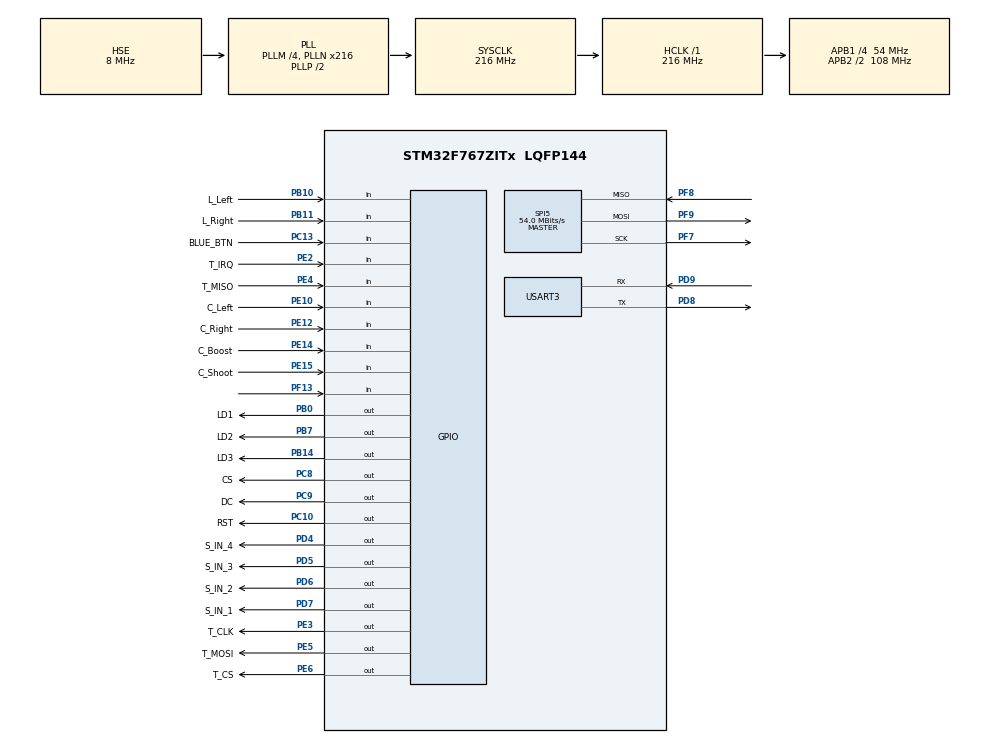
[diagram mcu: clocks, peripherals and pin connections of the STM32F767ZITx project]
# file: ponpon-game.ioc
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CORTEX_M7.ART_ACCELERATOR_ENABLE=1
CORTEX_M7.CPU_DCache=Enabled
CORTEX_M7.CPU_ICache=Enabled
CORTEX_M7.MPU_Control=__NULL
CORTEX_M7.PREFETCH_ENABLE=1
CORTEX_M7.default_mode_Activation=1
FREERTOS.Tasks01=defaultTask,24,256,StartDefaultTask,Default,NULL,Dynamic,NULL,NULL;TouchDisplayTas,8,256,DisplayTouch,Default,NULL,Dynamic,NULL,NULL;DisplayMenuTask,8,256,DisplayLCD,Default,NULL,Dynamic,NULL,NULL;ScoreCounterTas,48,256,ScoreCount,Default,NULL,Dynamic,NULL,NULL
FREERTOS.configENABLE_FPU=1
FREERTOS.configUSE_NEWLIB_REENTRANT=1
Mcu.Family=STM32F7
Mcu.Name=STM32F767ZITx
Mcu.Package=LQFP144
NVIC.PriorityGroup=NVIC_PRIORITYGROUP_4
NVIC.TIM2_IRQn=true\:5\:0\:false\:false\:true\:true\:true\:true\:true
NVIC.TIM8_UP_TIM13_IRQn=true\:15\:0\:false\:false\:true\:false\:false\:true\:true
NVIC.TimeBase=TIM8_UP_TIM13_IRQn
NVIC.TimeBaseIP=TIM8
PB0.GPIO_Label=LD1
PB0.Signal=GPIO_Output
PB10.GPIO_Label=L_Left
PB10.GPIO_PuPd=GPIO_PULLUP
PB10.Signal=GPIO_Input
PB11.GPIO_Label=L_Right
PB11.GPIO_PuPd=GPIO_PULLUP
PB11.Signal=GPIO_Input
PB14.GPIO_Label=LD3
PB14.Signal=GPIO_Output
PB7.GPIO_Label=LD2
PB7.Signal=GPIO_Output
PC10.GPIO_Label=RST
PC10.GPIO_Speed=GPIO_SPEED_FREQ_VERY_HIGH
PC10.Signal=GPIO_Output
PC13.GPIO_Label=BLUE_BTN
PC13.Signal=GPIO_Input
PC8.GPIO_Label=CS
PC8.GPIO_Speed=GPIO_SPEED_FREQ_VERY_HIGH
PC8.Signal=GPIO_Output
PC9.GPIO_Label=DC
PC9.GPIO_Speed=GPIO_SPEED_FREQ_VERY_HIGH
PC9.Signal=GPIO_Output
PD4.GPIO_Label=S_IN_4
PD4.Signal=GPIO_Output
PD5.GPIO_Label=S_IN_3
PD5.Signal=GPIO_Output
PD6.GPIO_Label=S_IN_2
PD6.Signal=GPIO_Output
PD7.GPIO_Label=S_IN_1
PD7.Signal=GPIO_Output
PD8.Mode=Asynchronous
PD8.Signal=USART3_TX
PD9.Mode=Asynchronous
PD9.Signal=USART3_RX
PE10.GPIO_Label=C_Left
PE10.Signal=GPIO_Input
PE12.GPIO_Label=C_Right
PE12.Signal=GPIO_Input
PE14.GPIO_Label=C_Boost
PE14.Signal=GPIO_Input
PE15.GPIO_Label=C_Shoot
PE15.Signal=GPIO_Input
PE2.GPIO_Label=T_IRQ
PE2.Signal=GPIO_Input
PE3.GPIO_Label=T_CLK
PE3.GPIO_Speed=GPIO_SPEED_FREQ_VERY_HIGH
PE3.Signal=GPIO_Output
PE4.GPIO_Label=T_MISO
PE4.Signal=GPIO_Input
PE5.GPIO_Label=T_MOSI
PE5.GPIO_Speed=GPIO_SPEED_FREQ_VERY_HIGH
PE5.Signal=GPIO_Output
PE6.GPIO_Label=T_CS
PE6.GPIO_Speed=GPIO_SPEED_FREQ_VERY_HIGH
PE6.Signal=GPIO_Output
PF13.Signal=GPIO_Input
PF7.Mode=Full_Duplex_Master
PF7.Signal=SPI5_SCK
PF8.Mode=Full_Duplex_Master
PF8.Signal=SPI5_MISO
PF9.Mode=Full_Duplex_Master
PF9.Signal=SPI5_MOSI
PH0/OSC_IN.Mode=HSE-External-Oscillator
PH0/OSC_IN.Signal=RCC_OSC_IN
PH1/OSC_OUT.Mode=HSE-External-Oscillator
PH1/OSC_OUT.Signal=RCC_OSC_OUT
ProjectManager.HeapSize=0x200
ProjectManager.StackSize=0x400
ProjectManager.TargetToolchain=STM32CubeIDE
RCC.AHBFreq_Value=216000000
RCC.APB1CLKDivider=RCC_HCLK_DIV4
RCC.APB1Freq_Value=54000000
RCC.APB1TimFreq_Value=108000000
RCC.APB2CLKDivider=RCC_HCLK_DIV2
RCC.APB2Freq_Value=108000000
RCC.APB2TimFreq_Value=216000000
RCC.CortexFreq_Value=216000000
RCC.HCLKFreq_Value=216000000
RCC.HSE_VALUE=8000000
RCC.HSI_VALUE=16000000
RCC.LSE_VALUE=32768
RCC.PLLM=4
RCC.PLLN=216
RCC.PLLSourceVirtual=RCC_PLLSOURCE_HSE
RCC.SYSCLKFreq_VALUE=216000000
RCC.SYSCLKSource=RCC_SYSCLKSOURCE_PLLCLK
RCC.USBFreq_Value=216000000
RCC.VCOOutputFreq_Value=432000000
SPI5.CalculateBaudRate=54.0 MBits/s
SPI5.DataSize=SPI_DATASIZE_8BIT
SPI5.Direction=SPI_DIRECTION_2LINES
SPI5.Mode=SPI_MODE_MASTER
SPI5.NSSPMode=SPI_NSS_PULSE_DISABLE
SPI5.VirtualType=VM_MASTER
TIM1.ClockDivision=TIM_CLOCKDIVISION_DIV2
TIM1.Period=0
TIM1.Prescaler=10000
TIM2.Period=10000-1
TIM2.Prescaler=10800-1
TIM2.TIM_MasterOutputTrigger=TIM_TRGO_UPDATE
USART3.VirtualMode-Asynchronous=VM_ASYNC
VP_FREERTOS_VS_CMSIS_V2.Mode=CMSIS_V2
VP_SYS_VS_tim8.Mode=TIM8
VP_TIM1_VS_ClockSourceINT.Mode=Internal
VP_TIM2_VS_ClockSourceINT.Mode=Internal
VP_TIM3_VS_ClockSourceINT.Mode=Internal
board=custom

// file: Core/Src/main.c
/* USER CODE BEGIN Header */
/**
  ******************************************************************************
  * @file           : main.c
  * @brief          : Main program body
  ******************************************************************************
  * @attention
  *
  * Copyright (c) 2026 STMicroelectronics.
  * All rights reserved.
  *
  * This software is licensed under terms that can be found in the LICENSE file
  * in the root directory of this software component.
  * If no LICENSE file comes with this software, it is provided AS-IS.
  *
  ******************************************************************************
  */
/* USER CODE END Header */
#include "main.h"
#include "cmsis_os.h"
#include "spi.h"
#include "tim.h"
#include "usart.h"
#include "gpio.h"

/* USER CODE BEGIN Includes */
#include "string.h"
#include "ILI9341_STM32_Driver.h"
/* USER CODE END Includes */

/* USER CODE BEGIN PV */
uint16_t timerCounter = 0;
/* USER CODE END PV */

void SystemClock_Config(void);
void MX_FREERTOS_Init(void);

int main(void)
{

  /* Enable the CPU Cache */

  /* Enable I-Cache---------------------------------------------------------*/
  SCB_EnableICache();

  /* Enable D-Cache---------------------------------------------------------*/
  SCB_EnableDCache();

  /* MCU Configuration--------------------------------------------------------*/

  /* Reset of all peripherals, Initializes the Flash interface and the Systick. */
  HAL_Init();

  /* Configure the system clock */
  SystemClock_Config();

  /* Initialize all configured peripherals */
  MX_GPIO_Init();
  MX_SPI5_Init();
  MX_TIM1_Init();
  MX_TIM2_Init();
  MX_USART3_UART_Init();
  MX_TIM3_Init();
  /* USER CODE BEGIN 2 */
  char init_msg[] = "Kernel Boosting...";
  HAL_UART_Transmit(&huart3, (uint8_t*) init_msg, strlen(init_msg), 100);

  ILI9341_Init();
  ILI9341_Set_Rotation(SCREEN_HORIZONTAL_2);
  ILI9341_Fill_Screen(WHITE);

  HAL_TIM_Base_Start_IT(&htim2);
  /* USER CODE END 2 */

  /* Init scheduler */
  osKernelInitialize();  /* Call init function for freertos objects (in cmsis_os2.c) */
  MX_FREERTOS_Init();

  /* Start scheduler */
  osKernelStart();

  /* We should never get here as control is now taken by the scheduler */

  /* Infinite loop */
  while (1)
  {

    /* USER CODE BEGIN 3 */
	char error_msg[] = "Exception Kernel Error!";
	HAL_UART_Transmit(&huart3, (uint8_t*) error_msg, strlen(error_msg), 100);
  }
  /* USER CODE END 3 */
}

void SystemClock_Config(void)
{
  RCC_OscInitTypeDef RCC_OscInitStruct = {0};
  RCC_ClkInitTypeDef RCC_ClkInitStruct = {0};

  /** Configure the main internal regulator output voltage
  */
  __HAL_RCC_PWR_CLK_ENABLE();
  __HAL_PWR_VOLTAGESCALING_CONFIG(PWR_REGULATOR_VOLTAGE_SCALE1);

  /** Initializes the RCC Oscillators according to the specified parameters
  * in the RCC_OscInitTypeDef structure.
  */
  RCC_OscInitStruct.OscillatorType = RCC_OSCILLATORTYPE_HSE;
  RCC_OscInitStruct.HSEState = RCC_HSE_ON;
  RCC_OscInitStruct.PLL.PLLState = RCC_PLL_ON;
  RCC_OscInitStruct.PLL.PLLSource = RCC_PLLSOURCE_HSE;
  RCC_OscInitStruct.PLL.PLLM = 4;
  RCC_OscInitStruct.PLL.PLLN = 216;
  RCC_OscInitStruct.PLL.PLLP = RCC_PLLP_DIV2;
  RCC_OscInitStruct.PLL.PLLQ = 2;
  RCC_OscInitStruct.PLL.PLLR = 2;
  if (HAL_RCC_OscConfig(&RCC_OscInitStruct) != HAL_OK)
  {
    Error_Handler();
  }

  /** Activate the Over-Drive mode
  */
  if (HAL_PWREx_EnableOverDrive() != HAL_OK)
  {
    Error_Handler();
  }

  /** Initializes the CPU, AHB and APB buses clocks
  */
  RCC_ClkInitStruct.ClockType = RCC_CLOCKTYPE_HCLK|RCC_CLOCKTYPE_SYSCLK
                              |RCC_CLOCKTYPE_PCLK1|RCC_CLOCKTYPE_PCLK2;
  RCC_ClkInitStruct.SYSCLKSource = RCC_SYSCLKSOURCE_PLLCLK;
  RCC_ClkInitStruct.AHBCLKDivider = RCC_SYSCLK_DIV1;
  RCC_ClkInitStruct.APB1CLKDivider = RCC_HCLK_DIV4;
  RCC_ClkInitStruct.APB2CLKDivider = RCC_HCLK_DIV2;

  if (HAL_RCC_ClockConfig(&RCC_ClkInitStruct, FLASH_LATENCY_7) != HAL_OK)
  {
    Error_Handler();
  }
}

void HAL_TIM_PeriodElapsedCallback(TIM_HandleTypeDef *htim)
{
  if (htim->Instance == TIM8)
  {
    HAL_IncTick();
  }
  /* USER CODE BEGIN Callback 1 */
  if (htim->Instance == TIM2)
  {
	  timerCounter += 1;
  }
  /* USER CODE END Callback 1 */
}

void Error_Handler(void)
{
  __disable_irq();
  while (1)
  {
  }
}

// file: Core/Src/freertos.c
/* USER CODE BEGIN Header */
/**
  ******************************************************************************
  * File Name          : freertos.c
  * Description        : Code for freertos applications
  ******************************************************************************
  * @attention
  *
  * Copyright (c) 2026 STMicroelectronics.
  * All rights reserved.
  *
  * This software is licensed under terms that can be found in the LICENSE file
  * in the root directory of this software component.
  * If no LICENSE file comes with this software, it is provided AS-IS.
  *
  ******************************************************************************
  */
/* USER CODE END Header */

#include "FreeRTOS.h"
#include "task.h"
#include "main.h"
#include "cmsis_os.h"

/* USER CODE BEGIN Includes */
#include "stdio.h"
#include "semphr.h"
#include "string.h"
#include "inttypes.h"
#include "ILI9341_GFX.h"
#include "ILI9341_STM32_Driver.h"
#include "ILI9341_Touchscreen.h"
/* USER CODE END Includes */

/* USER CODE BEGIN Variables */
extern uint16_t timerCounter;
uint16_t timerDefault = 120;

char *one = "1";
char *two = "2";

SemaphoreHandle_t xSemaphorel = NULL;

uint8_t score = 0;

volatile uint8_t limit_hit = 0;

const uint8_t step_table[4][4] =
{
    {1,0,1,0},   // Step 1
    {0,1,1,0},   // Step 2
    {0,1,0,1},   // Step 3
    {1,0,0,1}    // Step 4
};

int stepIndex = 0;
int stepNumber = 1;          // which step the motor is on
/* USER CODE END Variables */
/* Definitions for defaultTask */
osThreadId_t defaultTaskHandle;
const osThreadAttr_t defaultTask_attributes = {
  .name = "defaultTask",
  .stack_size = 256 * 4,
  .priority = (osPriority_t) osPriorityNormal,
};
/* Definitions for TouchDisplayTas */
osThreadId_t TouchDisplayTasHandle;
const osThreadAttr_t TouchDisplayTas_attributes = {
  .name = "TouchDisplayTas",
  .stack_size = 256 * 4,
  .priority = (osPriority_t) osPriorityLow,
};
/* Definitions for DisplayMenuTask */
osThreadId_t DisplayMenuTaskHandle;
const osThreadAttr_t DisplayMenuTask_attributes = {
  .name = "DisplayMenuTask",
  .stack_size = 256 * 4,
  .priority = (osPriority_t) osPriorityLow,
};
/* Definitions for ScoreCounterTas */
osThreadId_t ScoreCounterTasHandle;
const osThreadAttr_t ScoreCounterTas_attributes = {
  .name = "ScoreCounterTas",
  .stack_size = 256 * 4,
  .priority = (osPriority_t) osPriorityRealtime,
};

void StartDefaultTask(void *argument);
void DisplayTouch(void *argument);
void DisplayLCD(void *argument);
void ScoreCount(void *argument);

void MX_FREERTOS_Init(void); /* (MISRA C 2004 rule 8.1) */

void MX_FREERTOS_Init(void) {

  /* Create the thread(s) */
  /* creation of defaultTask */
  defaultTaskHandle = osThreadNew(StartDefaultTask, NULL, &defaultTask_attributes);

  /* creation of TouchDisplayTas */
  TouchDisplayTasHandle = osThreadNew(DisplayTouch, NULL, &TouchDisplayTas_attributes);

  /* creation of DisplayMenuTask */
  DisplayMenuTaskHandle = osThreadNew(DisplayLCD, NULL, &DisplayMenuTask_attributes);

  /* creation of ScoreCounterTas */
  ScoreCounterTasHandle = osThreadNew(ScoreCount, NULL, &ScoreCounterTas_attributes);

}

void StartDefaultTask(void *argument)
{
  /* USER CODE BEGIN StartDefaultTask */
	void motorOff()
	{
	    HAL_GPIO_WritePin(S_IN_1_GPIO_Port, S_IN_1_Pin, GPIO_PIN_RESET);
	    HAL_GPIO_WritePin(S_IN_2_GPIO_Port, S_IN_2_Pin, GPIO_PIN_RESET);
	    HAL_GPIO_WritePin(S_IN_3_GPIO_Port, S_IN_3_Pin, GPIO_PIN_RESET);
	    HAL_GPIO_WritePin(S_IN_4_GPIO_Port, S_IN_4_Pin, GPIO_PIN_RESET);
	}

	void stepMotor(int direction)
	{
	    stepIndex += direction;

	    if(stepIndex > 3) stepIndex = 0;
	    if(stepIndex < 0) stepIndex = 3;

	    HAL_GPIO_WritePin(S_IN_1_GPIO_Port, S_IN_1_Pin, step_table[stepIndex][0]);
	    HAL_GPIO_WritePin(S_IN_2_GPIO_Port, S_IN_2_Pin, step_table[stepIndex][1]);
	    HAL_GPIO_WritePin(S_IN_3_GPIO_Port, S_IN_3_Pin, step_table[stepIndex][2]);
	    HAL_GPIO_WritePin(S_IN_4_GPIO_Port, S_IN_4_Pin, step_table[stepIndex][3]);
	}

	stepNumber = 1;
  /* Infinite loop */
  for(;;)
  {
	  uint8_t leftBtn  = (HAL_GPIO_ReadPin(C_Left_GPIO_Port, C_Left_Pin) == GPIO_PIN_RESET);
	  uint8_t rightBtn = (HAL_GPIO_ReadPin(C_Right_GPIO_Port, C_Right_Pin) == GPIO_PIN_RESET);
	  uint8_t boost    = (HAL_GPIO_ReadPin(C_Boost_GPIO_Port, C_Boost_Pin) == GPIO_PIN_RESET);

	  uint8_t limitLeft  = (HAL_GPIO_ReadPin(L_Left_GPIO_Port, L_Left_Pin) == GPIO_PIN_SET);
	  uint8_t limitRight = (HAL_GPIO_ReadPin(L_Right_GPIO_Port, L_Right_Pin) == GPIO_PIN_SET);

	  uint8_t delay;

	  if(boost)
		  delay = 1;
	  else
		  delay = 2;

	  if(!limitRight && rightBtn && !leftBtn)
	  {
		  stepMotor(1);
		  osDelay(delay);
	  }
	  else if(!limitLeft && leftBtn && !rightBtn)
	  {
		  stepMotor(-1);
		  osDelay(delay);
	  }
	  else
	  {
		  motorOff();
		  osDelay(10);
	  }
  }
  /* USER CODE END StartDefaultTask */
}

void DisplayTouch(void *argument)
{
  /* USER CODE BEGIN DisplayTouch */
  /* Infinite loop */
  for(;;)
  {
	  if(TP_Touchpad_Pressed())
	  {
		  HAL_GPIO_WritePin(GPIOB, GPIO_PIN_0, 1);
	  }
	  else
	  {
		  HAL_GPIO_WritePin(GPIOB, GPIO_PIN_0, 0);
	  }
  }
  /* USER CODE END DisplayTouch */
}

void DisplayLCD(void *argument)
{
  /* USER CODE BEGIN DisplayLCD */
  char buff[30];

  void Draw_Trophy_Custom(uint16_t x, uint16_t y, uint8_t size, uint16_t color) {
      ILI9341_Draw_Rectangle(x + (4 * size), y, 10 * size, 8 * size, color);

      ILI9341_Draw_Rectangle(x, y + (1 * size), 4 * size, 1 * size, color);
      ILI9341_Draw_Rectangle(x, y + (1 * size), 1 * size, 5 * size, color);
      ILI9341_Draw_Rectangle(x, y + (5 * size), 4 * size, 1 * size, color);

      ILI9341_Draw_Rectangle(x + (14 * size), y + (1 * size), 4 * size, 1 * size, color);
      ILI9341_Draw_Rectangle(x + (17 * size), y + (1 * size), 1 * size, 5 * size, color);
      ILI9341_Draw_Rectangle(x + (14 * size), y + (5 * size), 4 * size, 1 * size, color);

      ILI9341_Draw_Rectangle(x + (8 * size), y + (8 * size), 2 * size, 4 * size, color);

      ILI9341_Draw_Rectangle(x + (5 * size), y + (11 * size), 8 * size, 2 * size, color);
  }

  void Draw_Heart_Custom(uint16_t x, uint16_t y, uint8_t size, uint16_t color) {
      ILI9341_Draw_Rectangle(x + (1 * size), y, 2 * size, 1 * size, color);

      ILI9341_Draw_Rectangle(x + (4 * size), y, 2 * size, 1 * size, color);

      ILI9341_Draw_Rectangle(x, y + (1 * size), 7 * size, 2 * size, color);

      ILI9341_Draw_Rectangle(x + (1 * size), y + (3 * size), 5 * size, 1 * size, color);

      ILI9341_Draw_Rectangle(x + (2 * size), y + (4 * size), 3 * size, 1 * size, color);
      ILI9341_Draw_Rectangle(x + (3 * size), y + (5 * size), 1 * size, 1 * size, color);
  }

//  Draw_Trophy_Custom(10, 40, 3, RED);
//  Draw_Trophy_Custom(100, 40, 3, BLUE);
//  Draw_Heart_Custom(120, 100, 5, RED);
  /* Infinite loop */
  for(;;)
  {
	  uint16_t value = timerDefault - timerCounter;
	  uint16_t second = value % 60;
	  uint16_t minute = value / 60;

	  sprintf(buff, "Timer: %02" PRIu16 ":%02" PRIu16, minute, second);
	  ILI9341_Draw_Text(buff, 50, 50, BLACK, 2, WHITE);

	  osDelay(500);
  }
  /* USER CODE END DisplayLCD */
}

void ScoreCount(void *argument)
{
  /* USER CODE BEGIN ScoreCount */
  char buff[30];
  /* Infinite loop */
  for(;;)
  {
	  HAL_GPIO_WritePin(GPIOB, GPIO_PIN_14, HAL_GPIO_ReadPin(GPIOF, GPIO_PIN_13));

	  if(HAL_GPIO_ReadPin(GPIOF, GPIO_PIN_13))
	  {
		  score += 1;

		  sprintf(buff, "Score: %02u", score);
		  ILI9341_Draw_Text(buff, 50, 100, BLACK, 2, WHITE);
		  osDelay(5000);
	  }

	  osDelay(1);
  }
  /* USER CODE END ScoreCount */
}
